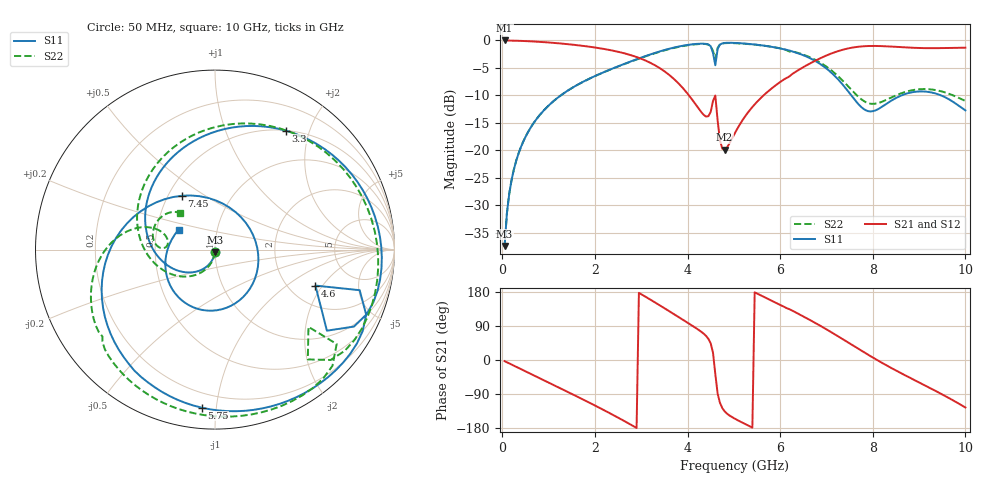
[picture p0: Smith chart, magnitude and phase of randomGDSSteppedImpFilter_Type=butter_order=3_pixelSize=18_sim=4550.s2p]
! freq	dB(S11)	phase(S11)	dB(S12)	phase(S12)
!  dB(S21)	phase(S21)	dB(S22)	phase(S22)
!S-par simulation data
#  GHz  S  DB  R 50
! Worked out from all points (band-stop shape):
!   200 points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, 50 MHz to 10 GHz, reference 50 ohm
!   highest |S21| = -0.01 dB at 50 MHz (marker M1); lowest = -19.9 dB at 4.8 GHz (marker M2)
!   |S21| within 3 dB of the highest: start of sweep to 2.895 GHz; 6.927 GHz to end of sweep
!   lowest |S11| = -37.4 dB at 50 MHz (marker M3), VSWR 1.03, Z = 49.9 - j1.35 ohm
!   |S11| at or under -10 dB: start of sweep to 1.262 GHz; 7.537 GHz to 8.62 GHz (1.083 GHz wide, 13.4 % of centre); 9.475 GHz to end of sweep
!   |S22| runs from -37.4 to -0.5 dB; largest |S21 - S12| = 0
!   S11 on the Smith chart (normalised r, x): 50 MHz: 1.00, -0.03; 3.3 GHz: 0.50, +1.64; 4.6 GHz: 2.76, -1.71; 5.75 GHz: 0.11, -0.91; 7.45 GHz: 0.59, +0.40; 10 GHz: 0.65, +0.15
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0.05  -37.40 -93.0  -0.01 -3.0  -0.01 -3.0  -37.41 -92.5
0.2  -25.38 -103.2  -0.03 -12.0  -0.03 -12.0  -25.39 -101.0
0.5  -17.56 -123.0  -0.12 -29.8  -0.12 -29.8  -17.54 -117.7
1.15  -10.73 -164.9  -0.47 -68.5  -0.47 -68.5  -10.73 -153.5
1.75  -7.50 157.3  -1.00 -104.6  -1.00 -104.6  -7.51 171.8
2.55  -4.54 107.5  -2.16 -155.4  -2.16 -155.4  -4.57 119.8
3.3  -2.26 59.3  -4.53 151.8  -4.53 151.8  -2.32 61.8
3.4  -2.00 52.6  -5.04 144.3  -5.04 144.3  -2.06 53.4
4.05  -0.76 8.0  -10.20 94.6  -10.20 94.6  -0.82 -2.3
4.5  -1.06 -29.0  -13.00 43.9  -13.00 43.9  -1.00 -43.7
4.55  -2.27 -35.9  -11.01 19.2  -11.01 19.2  -1.93 -49.8
4.6  -4.52 -19.7  -10.02 -37.3  -10.02 -37.3  -3.41 -39.6
4.65  -1.54 -15.7  -14.57 -88.6  -14.57 -88.6  -1.33 -37.8
4.8  -0.46 -33.5  -19.89 -135.3  -19.89 -135.3  -0.50 -54.8
5.05  -0.47 -51.5  -16.43 -156.8  -16.43 -156.8  -0.51 -73.9
5.75  -1.07 -94.8  -9.19 160.7  -9.19 160.7  -1.08 -117.6
6.7  -3.46 -160.3  -3.94 101.8  -3.94 101.8  -3.28 -169.1
7.45  -9.06 121.6  -1.49 47.5  -1.49 47.5  -8.18 161.4
7.9  -12.86 41.0  -1.02 13.8  -1.02 13.8  -11.40 168.6
8.35  -11.22 -35.6  -1.10 -17.7  -1.10 -17.7  -10.57 178.5
9.25  -9.43 -123.3  -1.41 -74.9  -1.41 -74.9  -8.90 154.5
10  -12.72 151.4  -1.32 -125.4  -1.32 -125.4  -11.00 133.6
